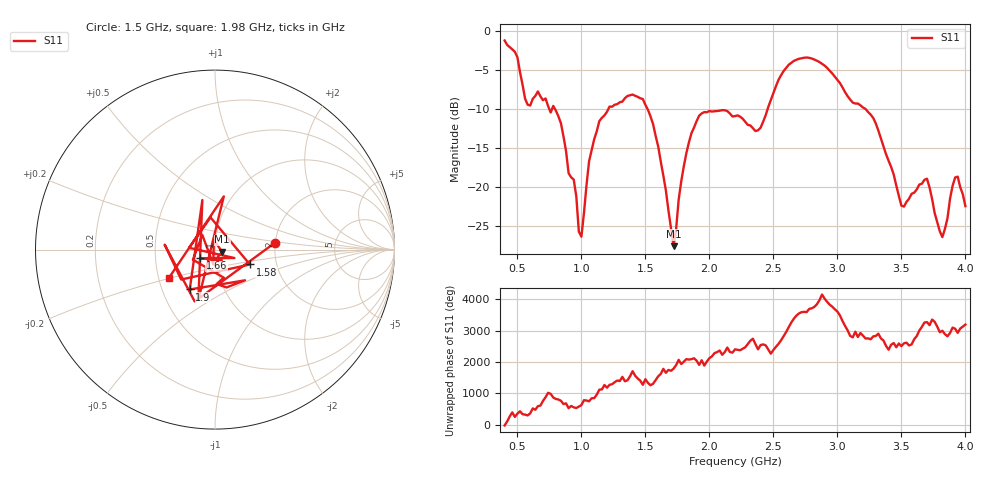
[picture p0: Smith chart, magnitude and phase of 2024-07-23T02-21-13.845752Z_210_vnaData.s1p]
!Created with skrf (http://scikit-rf.org).
# Hz S RI R 50.0
!freq ReS11 ImS11
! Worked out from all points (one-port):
!   181 points, 400 MHz to 4 GHz, reference 50 ohm
!   lowest |S11| = -27.6 dB at 1.72 GHz (marker M1), VSWR 1.09, Z = 54.1 - j1.32 ohm
!   |S11| at or under -10 dB: 791.9 MHz to 1.212 GHz (420.1 MHz wide, 41.9 % of centre); 1.515 GHz to 2.456 GHz (940.7 MHz wide, 47.4 % of centre); 3.215 GHz to end of sweep (the widest 3 of 4)
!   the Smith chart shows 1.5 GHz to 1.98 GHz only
!   S11 on the Smith chart (normalised r, x): 1.5 GHz: 1.99, +0.17; 1.58 GHz: 1.46, -0.25; 1.66 GHz: 0.85, -0.08; 1.9 GHz: 0.69, -0.33; 1.98 GHz: 0.57, -0.20
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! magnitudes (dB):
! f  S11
! 400 MHz  -1.3
! 500 MHz  -3.4
! 580 MHz  -9.5
! 660 MHz  -7.8
! 860 MHz  -13.6
! 1 GHz  -26.4
! 1.06 GHz  -16.7
! 1.14 GHz  -11.6
! 1.3 GHz  -9.2
! 1.5 GHz  -9.5
! 1.58 GHz  -13.5
! 1.66 GHz  -20.5
! 1.72 GHz  -27.6
! 1.76 GHz  -21.6
! 1.9 GHz  -11.6
! 1.98 GHz  -10.5
! 2.2 GHz  -11.0
! 2.38 GHz  -12.8
! 2.66 GHz  -3.9
! 2.88 GHz  -4.3
! 3.1 GHz  -8.8
! 3.28 GHz  -11.2
! 3.5 GHz  -22.4
! 3.56 GHz  -21.5
! 3.7 GHz  -19.0
! 3.82 GHz  -26.4
! 3.92 GHz  -18.8
! 4 GHz  -22.5
